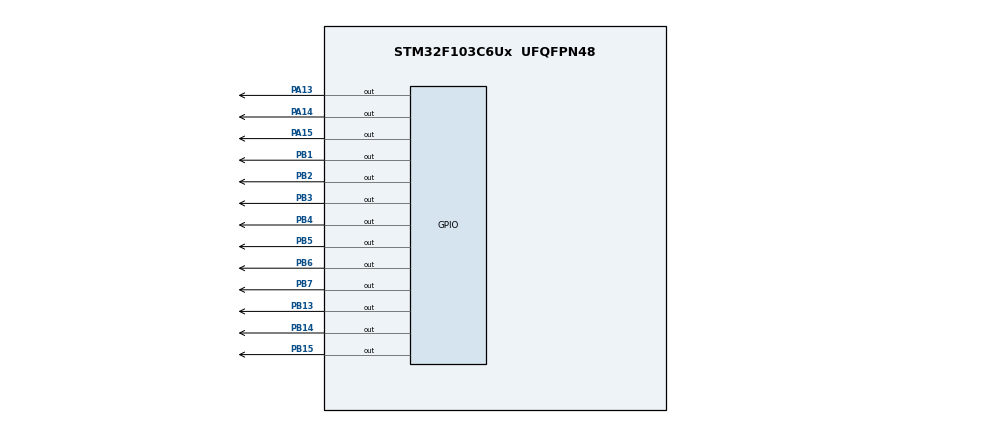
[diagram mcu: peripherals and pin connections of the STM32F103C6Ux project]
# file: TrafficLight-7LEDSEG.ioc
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Mcu.Family=STM32F1
Mcu.Name=STM32F103C6Ux
Mcu.Package=UFQFPN48
NVIC.PriorityGroup=NVIC_PRIORITYGROUP_4
PA13.Signal=GPIO_Output
PA14.Signal=GPIO_Output
PA15.Signal=GPIO_Output
PB1.Signal=GPIO_Output
PB13.Signal=GPIO_Output
PB14.Signal=GPIO_Output
PB15.Signal=GPIO_Output
PB2.Signal=GPIO_Output
PB3.Signal=GPIO_Output
PB4.Signal=GPIO_Output
PB5.Signal=GPIO_Output
PB6.Signal=GPIO_Output
PB7.Signal=GPIO_Output
ProjectManager.HeapSize=0x200
ProjectManager.StackSize=0x400
ProjectManager.TargetToolchain=STM32CubeIDE
RCC.APB1Freq_Value=8000000
RCC.APB2Freq_Value=8000000
VP_SYS_VS_ND.Mode=No_Debug
board=custom

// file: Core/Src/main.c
/* USER CODE BEGIN Header */
/**
  ******************************************************************************
  * @file           : main.c
  * @brief          : Main program body
  ******************************************************************************
  * @attention
  *
  * <h2><center>&copy; Copyright (c) 2023 STMicroelectronics.
  * All rights reserved.</center></h2>
  *
  * This software component is licensed by ST under BSD 3-Clause license,
  * the "License"; You may not use this file except in compliance with the
  * License. You may obtain a copy of the License at:
  *                        opensource.org/licenses/BSD-3-Clause
  *
  ******************************************************************************
  */
/* USER CODE END Header */
#include "main.h"

void SystemClock_Config(void);
static void MX_GPIO_Init(void);
void display7SEG(int num);

int main(void)
{

  /* MCU Configuration--------------------------------------------------------*/

  /* Reset of all peripherals, Initializes the Flash interface and the Systick. */
  HAL_Init();

  /* Configure the system clock */
  SystemClock_Config();

  /* Initialize all configured peripherals */
  MX_GPIO_Init();

  /* Infinite loop */
  /* USER CODE BEGIN WHILE */
  int count = 0;
  HAL_GPIO_TogglePin(GPIOA, GPIO_PIN_14);
  HAL_GPIO_TogglePin(GPIOA, GPIO_PIN_15);
  HAL_GPIO_TogglePin(GPIOB, GPIO_PIN_13);
  HAL_GPIO_TogglePin(GPIOB, GPIO_PIN_14);
  while (1)
  {
    /* USER CODE END WHILE */
	  if(count == 3){
		  HAL_GPIO_TogglePin(GPIOB, GPIO_PIN_14);
		  HAL_GPIO_TogglePin(GPIOB, GPIO_PIN_15);
	  }
	  if(count == 5){
		  HAL_GPIO_TogglePin(GPIOB, GPIO_PIN_13);
		  HAL_GPIO_TogglePin(GPIOB, GPIO_PIN_14);
		  HAL_GPIO_TogglePin(GPIOA, GPIO_PIN_13);
		  HAL_GPIO_TogglePin(GPIOA, GPIO_PIN_15);
	  }
	  if(count == 8){
		  HAL_GPIO_TogglePin(GPIOA, GPIO_PIN_14);
		  HAL_GPIO_TogglePin(GPIOA, GPIO_PIN_15);
	  }
	  if(count == 10){
		  HAL_GPIO_TogglePin(GPIOA, GPIO_PIN_13);
		  HAL_GPIO_TogglePin(GPIOA, GPIO_PIN_14);
		  HAL_GPIO_TogglePin(GPIOB, GPIO_PIN_13);
		  HAL_GPIO_TogglePin(GPIOB, GPIO_PIN_15);
		  count = 0;
	  }
	  if(count < 5){
		  display7SEG(5 - count);
	  }
	  else if(count < 8){
		  display7SEG(8 - count);
	  }
	  else if(count < 10){
		  display7SEG(10 - count);
	  }
	  count++;
	  HAL_Delay(1000);
  }
}

void SystemClock_Config(void)
{
  RCC_OscInitTypeDef RCC_OscInitStruct = {0};
  RCC_ClkInitTypeDef RCC_ClkInitStruct = {0};

  /** Initializes the RCC Oscillators according to the specified parameters
  * in the RCC_OscInitTypeDef structure.
  */
  RCC_OscInitStruct.OscillatorType = RCC_OSCILLATORTYPE_HSI;
  RCC_OscInitStruct.HSIState = RCC_HSI_ON;
  RCC_OscInitStruct.HSICalibrationValue = RCC_HSICALIBRATION_DEFAULT;
  RCC_OscInitStruct.PLL.PLLState = RCC_PLL_NONE;
  if (HAL_RCC_OscConfig(&RCC_OscInitStruct) != HAL_OK)
  {
    Error_Handler();
  }
  /** Initializes the CPU, AHB and APB buses clocks
  */
  RCC_ClkInitStruct.ClockType = RCC_CLOCKTYPE_HCLK|RCC_CLOCKTYPE_SYSCLK
                              |RCC_CLOCKTYPE_PCLK1|RCC_CLOCKTYPE_PCLK2;
  RCC_ClkInitStruct.SYSCLKSource = RCC_SYSCLKSOURCE_HSI;
  RCC_ClkInitStruct.AHBCLKDivider = RCC_SYSCLK_DIV1;
  RCC_ClkInitStruct.APB1CLKDivider = RCC_HCLK_DIV1;
  RCC_ClkInitStruct.APB2CLKDivider = RCC_HCLK_DIV1;

  if (HAL_RCC_ClockConfig(&RCC_ClkInitStruct, FLASH_LATENCY_0) != HAL_OK)
  {
    Error_Handler();
  }
}

static void MX_GPIO_Init(void)
{
  GPIO_InitTypeDef GPIO_InitStruct = {0};

  /* GPIO Ports Clock Enable */
  __HAL_RCC_GPIOB_CLK_ENABLE();
  __HAL_RCC_GPIOA_CLK_ENABLE();

  /*Configure GPIO pin Output Level */
  HAL_GPIO_WritePin(GPIOB, GPIO_PIN_1|GPIO_PIN_2|GPIO_PIN_13|GPIO_PIN_14
                          |GPIO_PIN_15|GPIO_PIN_3|GPIO_PIN_4|GPIO_PIN_5
                          |GPIO_PIN_6|GPIO_PIN_7, GPIO_PIN_RESET);

  /*Configure GPIO pin Output Level */
  HAL_GPIO_WritePin(GPIOA, GPIO_PIN_13|GPIO_PIN_14|GPIO_PIN_15, GPIO_PIN_RESET);

  /*Configure GPIO pins : PB1 PB2 PB13 PB14
                           PB15 PB3 PB4 PB5
                           PB6 PB7 */
  GPIO_InitStruct.Pin = GPIO_PIN_1|GPIO_PIN_2|GPIO_PIN_13|GPIO_PIN_14
                          |GPIO_PIN_15|GPIO_PIN_3|GPIO_PIN_4|GPIO_PIN_5
                          |GPIO_PIN_6|GPIO_PIN_7;
  GPIO_InitStruct.Mode = GPIO_MODE_OUTPUT_PP;
  GPIO_InitStruct.Pull = GPIO_NOPULL;
  GPIO_InitStruct.Speed = GPIO_SPEED_FREQ_LOW;
  HAL_GPIO_Init(GPIOB, &GPIO_InitStruct);

  /*Configure GPIO pins : PA13 PA14 PA15 */
  GPIO_InitStruct.Pin = GPIO_PIN_13|GPIO_PIN_14|GPIO_PIN_15;
  GPIO_InitStruct.Mode = GPIO_MODE_OUTPUT_PP;
  GPIO_InitStruct.Pull = GPIO_NOPULL;
  GPIO_InitStruct.Speed = GPIO_SPEED_FREQ_LOW;
  HAL_GPIO_Init(GPIOA, &GPIO_InitStruct);

}

/* USER CODE BEGIN 4 */
void display7SEG(int num){
	switch (num){
		case 0:
			HAL_GPIO_WritePin(GPIOB, GPIO_PIN_1, RESET);
			HAL_GPIO_WritePin(GPIOB, GPIO_PIN_2, RESET);
			HAL_GPIO_WritePin(GPIOB, GPIO_PIN_3, RESET);
			HAL_GPIO_WritePin(GPIOB, GPIO_PIN_4, RESET);
			HAL_GPIO_WritePin(GPIOB, GPIO_PIN_5, RESET);
			HAL_GPIO_WritePin(GPIOB, GPIO_PIN_6, RESET);
			HAL_GPIO_WritePin(GPIOB, GPIO_PIN_7, SET);
			break;
		case 1:
			HAL_GPIO_WritePin(GPIOB, GPIO_PIN_1, SET);
			HAL_GPIO_WritePin(GPIOB, GPIO_PIN_2, RESET);
			HAL_GPIO_WritePin(GPIOB, GPIO_PIN_3, RESET);
			HAL_GPIO_WritePin(GPIOB, GPIO_PIN_4, SET);
			HAL_GPIO_WritePin(GPIOB, GPIO_PIN_5, SET);
			HAL_GPIO_WritePin(GPIOB, GPIO_PIN_6, SET);
			HAL_GPIO_WritePin(GPIOB, GPIO_PIN_7, SET);
			break;
		case 2:
			HAL_GPIO_WritePin(GPIOB, GPIO_PIN_1, RESET);
			HAL_GPIO_WritePin(GPIOB, GPIO_PIN_2, RESET);
			HAL_GPIO_WritePin(GPIOB, GPIO_PIN_3, SET);
			HAL_GPIO_WritePin(GPIOB, GPIO_PIN_4, RESET);
			HAL_GPIO_WritePin(GPIOB, GPIO_PIN_5, RESET);
			HAL_GPIO_WritePin(GPIOB, GPIO_PIN_6, SET);
			HAL_GPIO_WritePin(GPIOB, GPIO_PIN_7, RESET);
			break;
		case 3:
			HAL_GPIO_WritePin(GPIOB, GPIO_PIN_1, RESET);
			HAL_GPIO_WritePin(GPIOB, GPIO_PIN_2, RESET);
			HAL_GPIO_WritePin(GPIOB, GPIO_PIN_3, RESET);
			HAL_GPIO_WritePin(GPIOB, GPIO_PIN_4, RESET);
			HAL_GPIO_WritePin(GPIOB, GPIO_PIN_5, SET);
			HAL_GPIO_WritePin(GPIOB, GPIO_PIN_6, SET);
			HAL_GPIO_WritePin(GPIOB, GPIO_PIN_7, RESET);
			break;
		case 4:
			HAL_GPIO_WritePin(GPIOB, GPIO_PIN_1, SET);
			HAL_GPIO_WritePin(GPIOB, GPIO_PIN_2, RESET);
			HAL_GPIO_WritePin(GPIOB, GPIO_PIN_3, RESET);
			HAL_GPIO_WritePin(GPIOB, GPIO_PIN_4, SET);
			HAL_GPIO_WritePin(GPIOB, GPIO_PIN_5, SET);
			HAL_GPIO_WritePin(GPIOB, GPIO_PIN_6, RESET);
			HAL_GPIO_WritePin(GPIOB, GPIO_PIN_7, RESET);
			break;
		case 5:
			HAL_GPIO_WritePin(GPIOB, GPIO_PIN_1, RESET);
			HAL_GPIO_WritePin(GPIOB, GPIO_PIN_2, SET);
			HAL_GPIO_WritePin(GPIOB, GPIO_PIN_3, RESET);
			HAL_GPIO_WritePin(GPIOB, GPIO_PIN_4, RESET);
			HAL_GPIO_WritePin(GPIOB, GPIO_PIN_5, SET);
			HAL_GPIO_WritePin(GPIOB, GPIO_PIN_6, RESET);
			HAL_GPIO_WritePin(GPIOB, GPIO_PIN_7, RESET);
			break;
		case 6:
			HAL_GPIO_WritePin(GPIOB, GPIO_PIN_1, RESET);
			HAL_GPIO_WritePin(GPIOB, GPIO_PIN_2, SET);
			HAL_GPIO_WritePin(GPIOB, GPIO_PIN_3, RESET);
			HAL_GPIO_WritePin(GPIOB, GPIO_PIN_4, RESET);
			HAL_GPIO_WritePin(GPIOB, GPIO_PIN_5, RESET);
			HAL_GPIO_WritePin(GPIOB, GPIO_PIN_6, RESET);
			HAL_GPIO_WritePin(GPIOB, GPIO_PIN_7, RESET);
			break;
		case 7:
			HAL_GPIO_WritePin(GPIOB, GPIO_PIN_1, RESET);
			HAL_GPIO_WritePin(GPIOB, GPIO_PIN_2, RESET);
			HAL_GPIO_WritePin(GPIOB, GPIO_PIN_3, RESET);
			HAL_GPIO_WritePin(GPIOB, GPIO_PIN_4, SET);
			HAL_GPIO_WritePin(GPIOB, GPIO_PIN_5, SET);
			HAL_GPIO_WritePin(GPIOB, GPIO_PIN_6, SET);
			HAL_GPIO_WritePin(GPIOB, GPIO_PIN_7, SET);
			break;
		case 8:
			HAL_GPIO_WritePin(GPIOB, GPIO_PIN_1, RESET);
			HAL_GPIO_WritePin(GPIOB, GPIO_PIN_2, RESET);
			HAL_GPIO_WritePin(GPIOB, GPIO_PIN_3, RESET);
			HAL_GPIO_WritePin(GPIOB, GPIO_PIN_4, RESET);
			HAL_GPIO_WritePin(GPIOB, GPIO_PIN_5, RESET);
			HAL_GPIO_WritePin(GPIOB, GPIO_PIN_6, RESET);
			HAL_GPIO_WritePin(GPIOB, GPIO_PIN_7, RESET);
			break;
		case 9:
			HAL_GPIO_WritePin(GPIOB, GPIO_PIN_1, RESET);
			HAL_GPIO_WritePin(GPIOB, GPIO_PIN_2, RESET);
			HAL_GPIO_WritePin(GPIOB, GPIO_PIN_3, RESET);
			HAL_GPIO_WritePin(GPIOB, GPIO_PIN_4, RESET);
			HAL_GPIO_WritePin(GPIOB, GPIO_PIN_5, SET);
			HAL_GPIO_WritePin(GPIOB, GPIO_PIN_6, RESET);
			HAL_GPIO_WritePin(GPIOB, GPIO_PIN_7, RESET);
			break;
	}
}
/* USER CODE END 4 */

void Error_Handler(void)
{
  __disable_irq();
  while (1)
  {
  }
}

/************************ (C) COPYRIGHT STMicroelectronics *****END OF FILE****/
